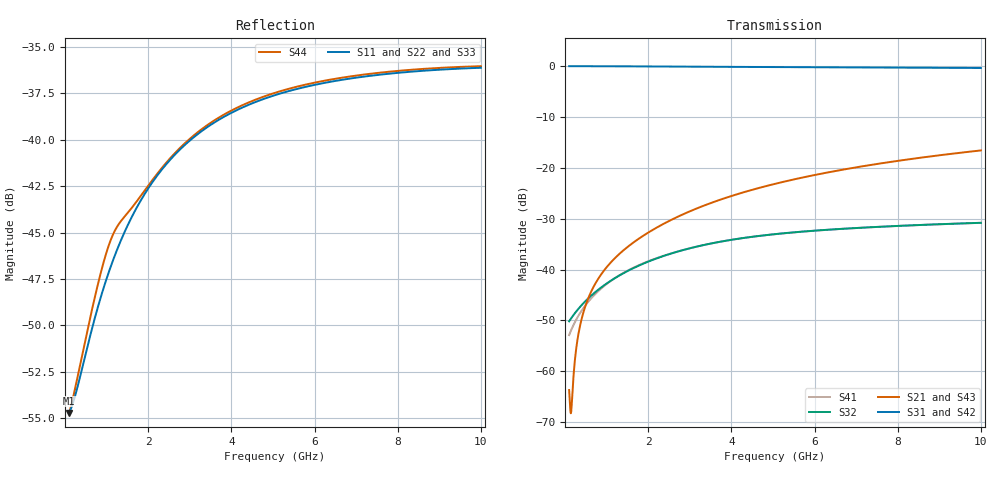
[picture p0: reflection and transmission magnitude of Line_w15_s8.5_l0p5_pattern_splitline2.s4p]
! TOUCHSTONE file generated by CST MICROWAVE STUDIO
! Date and time: Thu Oct 16 11:51:56 2014
! Project name: Untitled_1.cst
# GHZ S MA R 50
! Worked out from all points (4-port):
!   1001 points, 100 MHz to 10 GHz, reference 50 ohm
!   strongest paths, dB at 100 MHz, 2.575 GHz, 5.05 GHz, 7.525 GHz, 10 GHz:
!     S31: 0.0, -0.1, -0.2, -0.3, -0.4
!     S42: 0.0, -0.1, -0.2, -0.3, -0.4
!     S21: -63.7, -30.2, -23.2, -19.2, -16.6
!     S43: -60.5, -30.2, -23.2, -19.2, -16.6
!     S32: -50.2, -36.8, -33.0, -31.6, -30.8
!     S41: -52.9, -36.8, -33.1, -31.6, -30.8
!   lowest |S11| = -54.7 dB at 100 MHz (marker M1), VSWR 1.00, Z = 50.2 - j0.0384 ohm
!   |S11| at or under -10 dB: start of sweep to end of sweep
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0.1  0.001836 -12.0  0.00141 -93.5  0.998 -0.2  0.003147 -91.7
     0.0006543 -122.9  0.001823 -12.7  0.002546 -100.8  0.998 -0.2
     0.998 -0.2  0.003097 -91.7  0.001805 -12.4  0.00146 -93.5
     0.002268 -99.2  0.998 -0.2  0.0009391 -120.1  0.001833 -12.1
0.2287  0.002014 -27.8  0.0003092 143.1  0.9979 -0.5  0.003726 -94.1
        0.001166 112.4  0.002043 -29.7  0.003242 -99.2  0.9978 -0.5
        0.9979 -0.5  0.003678 -94.2  0.001991 -28.2  0.0002764 152.1
        0.002984 -98.2  0.9978 -0.5  0.001015 122.9  0.002102 -26.2
0.3772  0.002332 -42.7  0.002073 102.2  0.9977 -0.9  0.004403 -96.4
        0.00298 100.5  0.00241 -45.1  0.004049 -98.8  0.9976 -0.9
        0.9977 -0.9  0.004359 -96.6  0.002316 -43.0  0.002012 102.4
        0.003812 -98.3  0.9976 -0.9  0.002816 103.0  0.002515 -39.2
0.6544  0.003111 -62.5  0.005538 98.4  0.9972 -1.5  0.005686 -100.0
        0.006362 96.6  0.003254 -64.6  0.00554 -99.9  0.997 -1.5
        0.9972 -1.5  0.00565 -100.3  0.003103 -62.6  0.005474 98.4
        0.005343 -100.0  0.9971 -1.5  0.00624 97.4  0.003506 -57.3
2.0602  0.007564 -107.5  0.02392 96.9  0.992 -4.7  0.01221 -115.1
        0.02386 96.7  0.007679 -107.8  0.0123 -114.6  0.9919 -4.7
        0.992 -4.7  0.01223 -115.2  0.007566 -107.4  0.02391 96.8
        0.01231 -114.8  0.9919 -4.7  0.02384 96.7  0.007677 -108.1
5.0797  0.01322 -151.7  0.07002 91.7  0.9775 -10.8  0.02235 -139.8
        0.07006 91.7  0.01341 -151.0  0.02232 -139.8  0.9775 -10.8
        0.9775 -10.8  0.02236 -139.8  0.01322 -151.5  0.07001 91.7
        0.02232 -139.8  0.9775 -10.8  0.07003 91.7  0.01341 -150.9
10  0.01563 169.5  0.1482 78.5  0.9578 -20.1  0.02878 -159.4
    0.1482 78.5  0.01573 170.7  0.02878 -159.4  0.9578 -20.1
    0.9578 -20.1  0.02879 -159.4  0.0156 169.8  0.1481 78.5
    0.02877 -159.4  0.9577 -20.1  0.1481 78.5  0.01579 170.9
